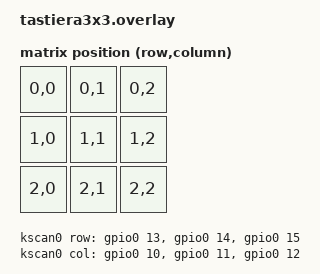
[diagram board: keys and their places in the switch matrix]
#include <dt-bindings/zmk/matrix_transform.h>

/ {
    chosen {
        zmk,kscan = &kscan0;
        zmk,matrix_transform = &default_transform;
    };

    default_transform: keymap_transform_0 {
        compatible = "zmk,matrix-transform";
        columns = <3>;
        rows = <3>;
        map = <
            RC(0,0) RC(0,1) RC(0,2)
            RC(1,0) RC(1,1) RC(1,2)
            RC(2,0) RC(2,1) RC(2,2)
        >;
    };

    kscan0: kscan_0 {
        compatible = "zmk,kscan-gpio-matrix";
        diode-direction = "col2row"; /* Modifica a "row2col" se necessario in base al tuo cablaggio */

        col-gpios = <&gpio0 10 GPIO_ACTIVE_HIGH>,
                    <&gpio0 11 GPIO_ACTIVE_HIGH>,
                    <&gpio0 12 GPIO_ACTIVE_HIGH>;

        row-gpios = <&gpio0 13 GPIO_ACTIVE_HIGH>,
                    <&gpio0 14 GPIO_ACTIVE_HIGH>,
                    <&gpio0 15 GPIO_ACTIVE_HIGH>;
    };
};
